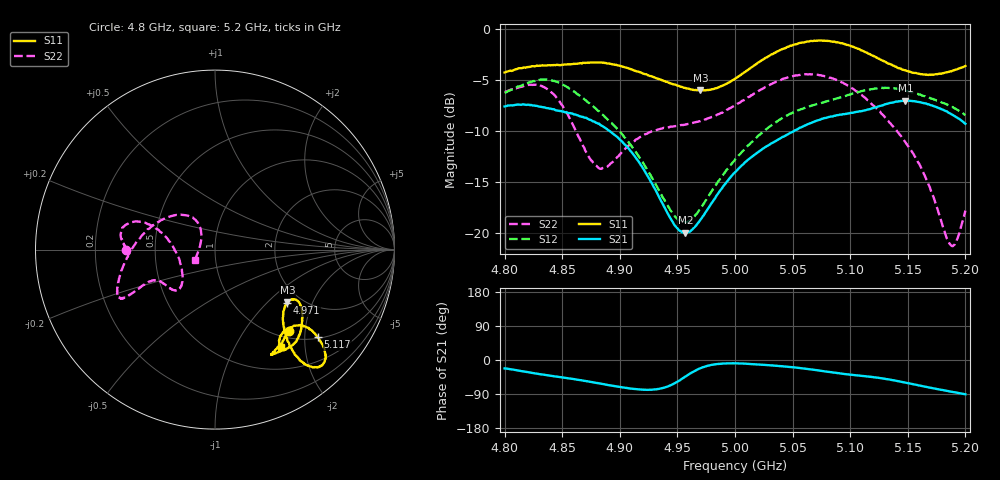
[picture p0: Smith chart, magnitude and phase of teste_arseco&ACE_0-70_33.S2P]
! Network Analyzer HP8722D
! Hewlett-Packard
! Data name: Linha & Wilkinson
! Saver's name: Rodrigo Anjos
! Comments: Teste da utilização de aquisição
! continua pelo VNA HP8722D
! Time and date: 8/5/2025 13:02
!  Frequency  S11  S21  S12  S22
# HZ  S  MA R 50
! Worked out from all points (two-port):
!   401 points, 4.8 GHz to 5.2 GHz, reference 50 ohm
!   highest |S21| = -7.04 dB at 5.148 GHz (marker M1); lowest = -20.0 dB at 4.957 GHz (marker M2)
!   |S21| within 3 dB of the highest: start of sweep to 4.891 GHz; 5.051 GHz to end of sweep
!   lowest |S11| = -6.0 dB at 4.97 GHz (marker M3), VSWR 2.99, Z = 84.8 - j66.5 ohm
!   |S11| at or under -10 dB: nowhere
!   |S22| runs from -21.3 to -4.4 dB; largest |S21 - S12| = 0.95
!   S11 on the Smith chart (normalised r, x): 4.8 GHz: 1.13, -1.64; 4.971 GHz: 1.68, -1.33; 5.117 GHz: 1.03, -2.32; 5.2 GHz: 0.82, -1.57
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4.8e9  0.6117 -47.8  0.4165 -22.1  0.4862 -175.8  0.4935 -179.9
4.821e9  0.6508 -58.5  0.4247 -32.5  0.5447 176.9  0.5322 171.3
4.837e9  0.6638 -61.6  0.4085 -40.4  0.5645 167.4  0.5072 163.6
4.851e9  0.6682 -59.8  0.3936 -46.5  0.5308 158.5  0.4128 159.0
4.867e9  0.6769 -54.8  0.3702 -53.7  0.4603 150.8  0.2744 166.6
4.885e9  0.6826 -48.9  0.3335 -63.2  0.3801 144.6  0.2075 -160.5
4.909e9  0.6361 -40.5  0.2528 -75.2  0.2714 137.8  0.2708 -133.4
4.934e9  0.5682 -33.0  0.1499 -76.3  0.1619 141.2  0.322 -135.3
4.957e9  0.5138 -32.8  0.0998 -43.7  0.1122 174.7  0.3396 -145.2
4.97e9  0.4992 -36.1  0.1158 -21.8  0.1313 -163.5  0.3526 -150.0
4.971e9  0.4999 -36.6  0.1176 -20.5  0.1338 -162.2  0.3549 -150.3
5e9  0.5701 -47.9  0.1977 -8.8  0.2286 -146.8  0.4217 -153.9
5.038e9  0.781 -52.4  0.2873 -15.9  0.3569 -147.9  0.5575 -151.9
5.067e9  0.8729 -48.4  0.3477 -25.3  0.4217 -154.4  0.5991 -154.9
5.094e9  0.8477 -43.4  0.3822 -36.4  0.4657 -162.0  0.5439 -165.6
5.117e9  0.7528 -40.4  0.404 -44.1  0.5045 -172.5  0.4395 174.3
5.134e9  0.6746 -40.2  0.433 -51.4  0.5135 177.3  0.3477 153.2
5.148e9  0.6269 -42.6  0.4446 -59.9  0.4985 169.2  0.2776 135.7
5.167e9  0.5958 -49.0  0.4274 -71.7  0.4638 160.6  0.1787 122.8
5.187e9  0.6196 -54.9  0.3843 -83.2  0.4185 153.8  0.08727 158.5
5.192e9  0.6318 -55.6  0.3692 -85.9  0.4043 152.2  0.09029 -178.3
5.2e9  0.6582 -55.8  0.3425 -90.5  0.3778 149.4  0.1283 -152.2
